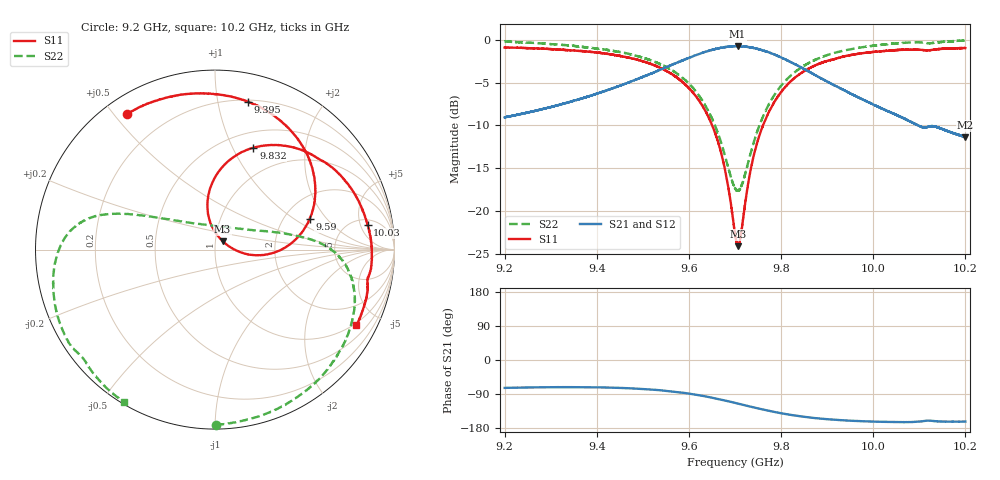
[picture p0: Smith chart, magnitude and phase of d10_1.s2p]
!Agilent Technologies,N5242A,MY51221714,A.09.90.19
!Agilent N5242A: A.09.90.19
!Date: Saturday, March 16, 2024 08:51:09
!Correction: S11(Full 2 Port(1,2))
!S21(Full 2 Port(1,2))
!S12(Full 2 Port(1,2))
!S22(Full 2 Port(1,2))
!S2P File: Measurements: S11, S21, S12, S22:
# Hz S  dB  R 50
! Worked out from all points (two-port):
!   16001 points, 9.2 GHz to 10.2 GHz, reference 50 ohm
!   highest |S21| = -0.75 dB at 9.706 GHz (marker M1); lowest = -11.4 dB at 10.2 GHz (marker M2)
!   |S21| within 3 dB of the highest: 9.527187 GHz to 9.527287 GHz (99.72 kHz wide, 0.00105 % of centre); 9.527 GHz to 9.861 GHz (333.8 MHz wide, 3.44 % of centre)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
!   lowest |S11| = -24.1 dB at 9.707 GHz (marker M3), VSWR 1.13, Z = 54.2 + j5.03 ohm
!   |S11| at or under -10 dB: 9.65049 GHz to 9.650552 GHz (62.64 kHz wide, 0.000649 % of centre); 9.651 GHz to 9.761 GHz (110.1 MHz wide, 1.13 % of centre)
!   |S22| runs from -17.7 to -0.1 dB; largest |S21 - S12| = 0.0096
!   S11 on the Smith chart (normalised r, x): 9.2 GHz: 0.07, +0.54; 9.395 GHz: 0.21, +1.23; 9.59 GHz: 2.75, +1.34; 9.832 GHz: 0.67, +1.21; 10.03 GHz: 6.22, +6.66; 10.2 GHz: 0.90, -3.78
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9.2e9  -0.92 123.1  -9.06 -73.6  -9.05 -74.1  -0.21 -89.7
9.277688e9  -1.04 105.6  -8.15 -72.1  -8.13 -72.5  -0.43 -68.1
9.366688e9  -1.34 84.6  -6.87 -71.8  -6.85 -72.2  -0.82 -44.4
9.395125e9  -1.48 77.3  -6.39 -72.1  -6.38 -72.5  -1.01 -37.1
9.463812e9  -2.03 58.8  -5.09 -74.3  -5.09 -74.7  -1.60 -20.8
9.533375e9  -3.17 37.7  -3.60 -79.4  -3.60 -79.8  -2.74 -6.4
9.59025e9  -5.14 17.8  -2.33 -86.9  -2.32 -87.4  -4.63 3.6
9.658438e9  -11.14 -5.9  -1.08 -101.5  -1.07 -101.9  -10.25 19.4
9.679875e9  -15.59 -7.7  -0.86 -107.3  -0.85 -107.8  -13.81 33.6
9.7e9  -22.53 18.6  -0.76 -113.1  -0.75 -113.6  -17.37 68.5
9.705688e9  -23.90 41.8  -0.75 -114.8  -0.75 -115.3  -17.64 83.3
9.706875e9  -24.06 47.5  -0.76 -115.2  -0.75 -115.6  -17.58 86.1
9.735312e9  -14.80 100.9  -0.92 -123.6  -0.90 -124.0  -12.98 137.1
9.755812e9  -10.72 97.7  -1.18 -129.3  -1.16 -129.8  -9.62 148.6
9.832e9  -4.34 69.4  -2.91 -146.8  -2.92 -147.3  -3.69 162.7
9.866688e9  -3.18 56.7  -3.92 -152.4  -3.91 -152.8  -2.55 167.4
9.950562e9  -1.80 30.3  -6.27 -160.2  -6.27 -160.6  -1.12 -178.2
1.002975e10  -1.29 9.2  -8.29 -163.3  -8.29 -163.8  -0.54 -161.8
1.003338e10  -1.29 8.4  -8.38 -163.4  -8.37 -163.8  -0.51 -160.9
1.010106e10  -1.17 -8.0  -10.08 -162.6  -10.09 -163.0  -0.31 -146.0
1.019994e10  -0.98 -28.1  -11.36 -162.5  -11.34 -162.9  -0.10 -120.7
1.02e10  -0.98 -28.2  -11.36 -162.5  -11.34 -162.9  -0.10 -120.7
